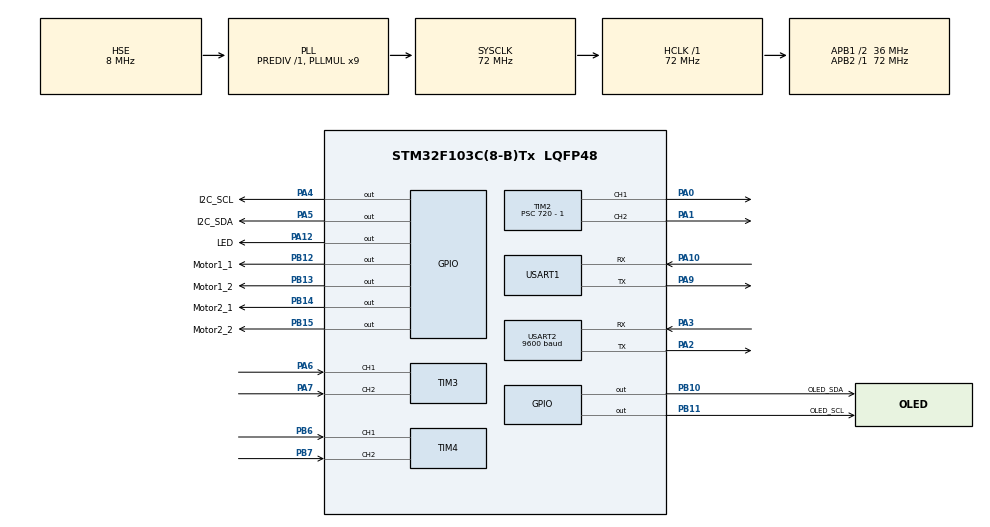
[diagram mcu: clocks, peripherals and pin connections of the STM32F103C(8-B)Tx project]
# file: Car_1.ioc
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Mcu.Family=STM32F1
Mcu.Name=STM32F103C(8-B)Tx
Mcu.Package=LQFP48
NVIC.PriorityGroup=NVIC_PRIORITYGROUP_4
NVIC.TIM1_UP_IRQn=true\:3\:0\:true\:false\:true\:true\:true\:true
NVIC.USART1_IRQn=true\:1\:0\:true\:false\:true\:true\:true\:true
NVIC.USART2_IRQn=true\:1\:0\:true\:false\:true\:true\:true\:true
PA0-WKUP.Signal=S_TIM2_CH1_ETR
PA1.Signal=S_TIM2_CH2
PA10.Mode=Asynchronous
PA10.Signal=USART1_RX
PA12.GPIO_Label=LED
PA12.Signal=GPIO_Output
PA13.Mode=Serial_Wire
PA13.Signal=SYS_JTMS-SWDIO
PA14.Mode=Serial_Wire
PA14.Signal=SYS_JTCK-SWCLK
PA2.Mode=Asynchronous
PA2.Signal=USART2_TX
PA3.Mode=Asynchronous
PA3.Signal=USART2_RX
PA4.GPIO_Label=I2C_SCL
PA4.GPIO_Speed=GPIO_SPEED_FREQ_MEDIUM
PA4.PinState=GPIO_PIN_SET
PA4.Signal=GPIO_Output
PA5.GPIO_Label=I2C_SDA
PA5.GPIO_ModeDefaultOutputPP=GPIO_MODE_OUTPUT_OD
PA5.GPIO_PuPd=GPIO_PULLUP
PA5.GPIO_Speed=GPIO_SPEED_FREQ_MEDIUM
PA5.PinState=GPIO_PIN_SET
PA5.Signal=GPIO_Output
PA6.Signal=S_TIM3_CH1
PA7.Signal=S_TIM3_CH2
PA9.Mode=Asynchronous
PA9.Signal=USART1_TX
PB10.GPIO_Label=OLED_SDA
PB10.GPIO_ModeDefaultOutputPP=GPIO_MODE_OUTPUT_OD
PB10.GPIO_PuPd=GPIO_PULLUP
PB10.GPIO_Speed=GPIO_SPEED_FREQ_LOW
PB10.PinState=GPIO_PIN_SET
PB10.Signal=GPIO_Output
PB11.GPIO_Label=OLED_SCL
PB11.GPIO_Speed=GPIO_SPEED_FREQ_LOW
PB11.PinState=GPIO_PIN_SET
PB11.Signal=GPIO_Output
PB12.GPIO_Label=Motor1_1
PB12.PinState=GPIO_PIN_RESET
PB12.Signal=GPIO_Output
PB13.GPIO_Label=Motor1_2
PB13.Signal=GPIO_Output
PB14.GPIO_Label=Motor2_1
PB14.Signal=GPIO_Output
PB15.GPIO_Label=Motor2_2
PB15.Signal=GPIO_Output
PB6.Signal=S_TIM4_CH1
PB7.Signal=S_TIM4_CH2
PD0-OSC_IN.Mode=HSE-External-Oscillator
PD0-OSC_IN.Signal=RCC_OSC_IN
PD1-OSC_OUT.Mode=HSE-External-Oscillator
PD1-OSC_OUT.Signal=RCC_OSC_OUT
ProjectManager.HeapSize=0x200
ProjectManager.StackSize=0x400
ProjectManager.TargetToolchain=SW4STM32
RCC.AHBFreq_Value=72000000
RCC.APB1CLKDivider=RCC_HCLK_DIV2
RCC.APB1Freq_Value=36000000
RCC.APB1TimFreq_Value=72000000
RCC.APB2Freq_Value=72000000
RCC.APB2TimFreq_Value=72000000
RCC.HCLKFreq_Value=72000000
RCC.PLLMUL=RCC_PLL_MUL9
RCC.PLLSourceVirtual=RCC_PLLSOURCE_HSE
RCC.SYSCLKFreq_VALUE=72000000
RCC.SYSCLKSource=RCC_SYSCLKSOURCE_PLLCLK
RCC.USBFreq_Value=72000000
SH.S_TIM2_CH1_ETR.0=TIM2_CH1,PWM Generation1 CH1
SH.S_TIM2_CH2.0=TIM2_CH2,PWM Generation2 CH2
SH.S_TIM3_CH1.0=TIM3_CH1,Encoder_Interface
SH.S_TIM3_CH2.0=TIM3_CH2,Encoder_Interface
SH.S_TIM4_CH1.0=TIM4_CH1,Encoder_Interface
SH.S_TIM4_CH2.0=TIM4_CH2,Encoder_Interface
TIM1.AutoReloadPreload=TIM_AUTORELOAD_PRELOAD_DISABLE
TIM1.Period=1000 - 1
TIM1.Prescaler=720 - 1
TIM2.Channel-PWM\ Generation1\ CH1=TIM_CHANNEL_1
TIM2.Channel-PWM\ Generation2\ CH2=TIM_CHANNEL_2
TIM2.Period=100 - 1
TIM2.Prescaler=720 - 1
USART1.VirtualMode=VM_ASYNC
USART2.BaudRate=9600
USART2.VirtualMode=VM_ASYNC
VP_TIM1_VS_ClockSourceINT.Mode=Internal
VP_TIM2_VS_ClockSourceINT.Mode=Internal
board=custom

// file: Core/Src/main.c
/* USER CODE BEGIN Header */
/**
  ******************************************************************************
  * @file           : main.c
  * @brief          : Main program body
  ******************************************************************************
  * @attention
  *
  * <h2><center>&copy; Copyright (c) 2023 STMicroelectronics.
  * All rights reserved.</center></h2>
  *
  * This software component is licensed by ST under BSD 3-Clause license,
  * the "License"; You may not use this file except in compliance with the
  * License. You may obtain a copy of the License at:
  *                        opensource.org/licenses/BSD-3-Clause
  *
  ******************************************************************************
  */
/* USER CODE END Header */
#include "main.h"
#include "tim.h"
#include "usart.h"
#include "gpio.h"

/* USER CODE BEGIN Includes */
#include "stdlib.h"
#include "retarget.h"
#include "string.h"
#include "Motor.h"
#include "OLED.h"
#include "MPU6050.h"
#include "inv_mpu.h"

/* USER CODE END Includes */

void SystemClock_Config(void);

/* USER CODE BEGIN 0 */
BlueToothRx BTRx;
uint8_t Tx_Data[20]="Link ok!";
uint8_t BTRx_Data[100];
/* USER CODE END 0 */

int main(void)
{
  /* USER CODE BEGIN 1 */
    BTRx.BT_RxCNT = 0;
    BTRx.BT_RxStatrFlag = 0;
    BTRx.BT_RxEndFlag = 0;
    BTRx.TempData[0] = 0;
  /* USER CODE END 1 */

  /* MCU Configuration--------------------------------------------------------*/

  /* Reset of all peripherals, Initializes the Flash interface and the Systick. */
  HAL_Init();

  /* USER CODE BEGIN Init */
    RetargetInit(&huart1);
    OLED_Init();
  /* USER CODE END Init */

  /* Configure the system clock */
  SystemClock_Config();

  /* Initialize all configured peripherals */
  MX_GPIO_Init();
  MX_TIM1_Init();
  MX_TIM2_Init();
  MX_TIM3_Init();
  MX_TIM4_Init();
  MX_USART1_UART_Init();
  MX_USART2_UART_Init();
  /* USER CODE BEGIN 2 */
    HAL_TIM_Base_Start_IT(&htim1);
    HAL_UART_Receive_IT(&huart2,BTRx.TempData,1);
    //HAL_GPIO_WritePin(LED_GPIO_Port,LED_Pin,GPIO_PIN_RESET);
    HAL_TIM_PWM_Start(&htim2,TIM_CHANNEL_1);
    HAL_TIM_PWM_Start(&htim2,TIM_CHANNEL_2);

    Set_MotorDirc(1,1);  //默认正转
    Set_MotorDirc(2,2);
    Set_MotorCCR(1,0);
    Set_MotorCCR(2,0);
    OLED_Clear();
    OLED_ShowChar(4,1,'C');
  /* USER CODE END 2 */

  /* Infinite loop */
  while (1)
  {

    /* USER CODE BEGIN 3 */

    /*蓝牙串口接收*/
      if(__HAL_UART_GET_FLAG(&huart2,UART_FLAG_IDLE) && BTRx.BT_RxStatrFlag == 1) //若串口空闲则代表串口接收结束
      {
          BTRx.BT_RxEndFlag = 1;
      }
      if(BTRx.BT_RxEndFlag == 1)
    {
        printf("%s\r\n",BTRx.BT_RxData);
        if(!strcmp("LED_ON",BTRx.BT_RxData))
        {
            HAL_GPIO_WritePin(LED_GPIO_Port,LED_Pin,GPIO_PIN_SET);
        }
        else  HAL_GPIO_WritePin(LED_GPIO_Port,LED_Pin,GPIO_PIN_RESET);
        for(uint8_t i = 0;i<BTRx.BT_RxCNT;i++)
        {
            BTRx.BT_RxData[i] = 0;  //重新初始化接收数组
        }
        BTRx.BT_RxEndFlag = 0;
        BTRx.BT_RxStatrFlag = 0;
        BTRx.BT_RxCNT = 0;
    }
  }
  /* USER CODE END 3 */
}

void SystemClock_Config(void)
{
  RCC_OscInitTypeDef RCC_OscInitStruct = {0};
  RCC_ClkInitTypeDef RCC_ClkInitStruct = {0};

  /** Initializes the RCC Oscillators according to the specified parameters
  * in the RCC_OscInitTypeDef structure.
  */
  RCC_OscInitStruct.OscillatorType = RCC_OSCILLATORTYPE_HSE;
  RCC_OscInitStruct.HSEState = RCC_HSE_ON;
  RCC_OscInitStruct.HSEPredivValue = RCC_HSE_PREDIV_DIV1;
  RCC_OscInitStruct.HSIState = RCC_HSI_ON;
  RCC_OscInitStruct.PLL.PLLState = RCC_PLL_ON;
  RCC_OscInitStruct.PLL.PLLSource = RCC_PLLSOURCE_HSE;
  RCC_OscInitStruct.PLL.PLLMUL = RCC_PLL_MUL9;
  if (HAL_RCC_OscConfig(&RCC_OscInitStruct) != HAL_OK)
  {
    Error_Handler();
  }
  /** Initializes the CPU, AHB and APB buses clocks
  */
  RCC_ClkInitStruct.ClockType = RCC_CLOCKTYPE_HCLK|RCC_CLOCKTYPE_SYSCLK
                              |RCC_CLOCKTYPE_PCLK1|RCC_CLOCKTYPE_PCLK2;
  RCC_ClkInitStruct.SYSCLKSource = RCC_SYSCLKSOURCE_PLLCLK;
  RCC_ClkInitStruct.AHBCLKDivider = RCC_SYSCLK_DIV1;
  RCC_ClkInitStruct.APB1CLKDivider = RCC_HCLK_DIV2;
  RCC_ClkInitStruct.APB2CLKDivider = RCC_HCLK_DIV1;

  if (HAL_RCC_ClockConfig(&RCC_ClkInitStruct, FLASH_LATENCY_2) != HAL_OK)
  {
    Error_Handler();
  }
}

/* USER CODE BEGIN 4 */
void HAL_UART_RxCpltCallback(UART_HandleTypeDef *huart)
{
    if(huart->Instance == USART2)//判断是否是蓝牙串口的中断
    {
        BTRx.BT_RxData[BTRx.BT_RxCNT++] = BTRx.TempData[0];
        HAL_UART_Receive_IT(&huart2,BTRx.TempData,1);
        BTRx.BT_RxStatrFlag = 1;
    }
}

//10ms进一次中断
void HAL_TIM_PeriodElapsedCallback(TIM_HandleTypeDef *htim)
{
    static uint32_t i = 0;
    if(htim1.Instance == TIM1)
    {
        if(i++>=100)
        {
            //HAL_GPIO_TogglePin(LED_GPIO_Port,LED_Pin);
            i = 0;
        }
    }
}

/* USER CODE END 4 */

void Error_Handler(void)
{
  __disable_irq();
  while (1)
  {
  }
}

/************************ (C) COPYRIGHT STMicroelectronics *****END OF FILE****/
